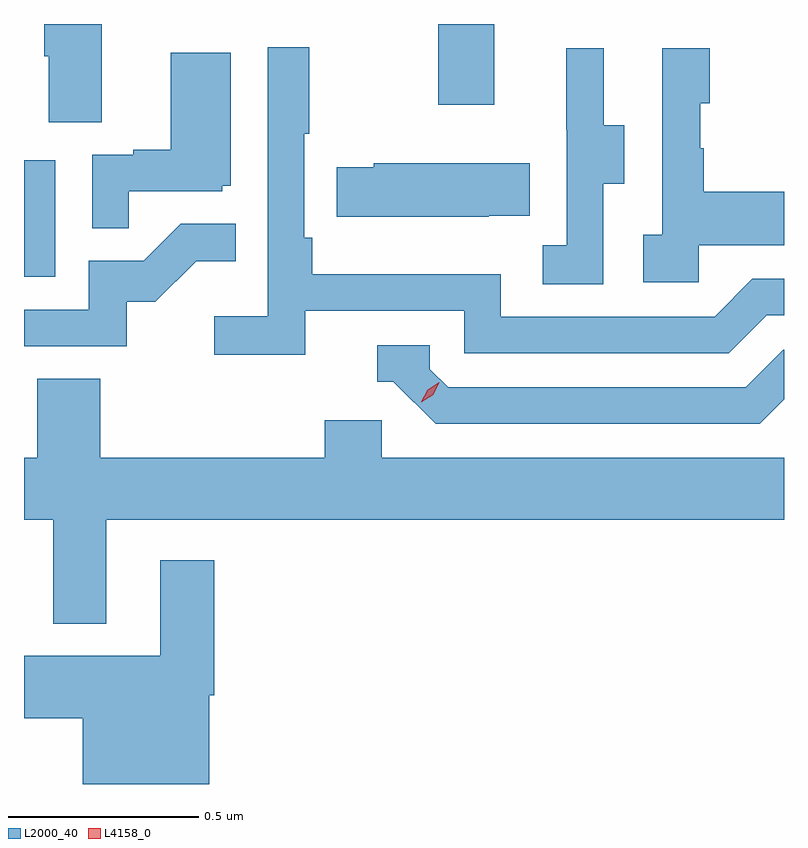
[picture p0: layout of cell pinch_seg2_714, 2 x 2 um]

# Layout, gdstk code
import gdstk
lib = gdstk.Library(unit=1e-6, precision=1e-09)
def R(c, l, rs):  # rectangles x0, y0, x1, y1
    for r in rs: c.add(gdstk.rectangle(r[:2], r[2:], *l))
def P(c, l, *ps):  # polygons
    for p in ps: c.add(gdstk.Polygon(p, *l))
L2000_40 = (2000, 40)
L4158_0 = (4158, 0)

pinch_seg2_714 = lib.new_cell('pinch_seg2_714')
R(pinch_seg2_714, L2000_40, [(1101.132,594.996,1101.214,595.303), (1102.222,595.449,1102.369,595.661)])
P(pinch_seg2_714, L2000_40, [(1101.337,595.661),(1101.185,595.661),(1101.185,595.576),(1101.197,595.576),(1101.197,595.402),(1101.337,595.402)],
  [(1101.872,594.906),(1102.29,594.906),(1102.29,594.795),(1102.987,594.795),(1103.086,594.894),(1103.132,594.894),(1103.132,594.99),(1103.049,594.99),(1102.95,594.891),(1102.386,594.891),(1102.386,595.003),(1101.89,595.003),(1101.89,595.099),(1101.87,595.099),(1101.87,595.372),(1101.883,595.372),(1101.883,595.6),(1101.774,595.6),(1101.774,594.892),(1101.633,594.892),(1101.633,594.79),(1101.872,594.79)],
  [(1102.656,595.24),(1102.711,595.24),(1102.711,595.395),(1102.657,595.395),(1102.657,595.597),(1102.559,595.597),(1102.559,595.383),(1102.56,595.383),(1102.56,595.079),(1102.497,595.079),(1102.497,594.976),(1102.656,594.976)],
  [(1102.908,595.079),(1103.132,595.079),(1103.132,595.219),(1102.921,595.219),(1102.921,595.334),(1102.911,595.334),(1102.911,595.452),(1102.936,595.452),(1102.936,595.597),(1102.812,595.597),(1102.812,595.106),(1102.761,595.106),(1102.761,594.981),(1102.908,594.981)],
  [(1101.407,595.221),(1101.654,595.221),(1101.654,595.236),(1101.676,595.236),(1101.676,595.585),(1101.518,595.585),(1101.518,595.33),(1101.419,595.33),(1101.419,595.317),(1101.312,595.317),(1101.312,595.123),(1101.407,595.123)],
  [(1102.355,595.157),(1102.463,595.157),(1102.463,595.294),(1102.053,595.294),(1102.053,595.284),(1101.955,595.284),(1101.955,595.154),(1102.355,595.154)],
  [(1101.402,594.93),(1101.478,594.93),(1101.585,595.037),(1101.689,595.037),(1101.689,595.136),(1101.545,595.136),(1101.447,595.038),(1101.303,595.038),(1101.303,594.909),(1101.132,594.909),(1101.132,594.813),(1101.402,594.813)],
  [(1103.132,594.673),(1103.132,594.804),(1103.13,594.804),(1103.031,594.705),(1102.248,594.705),(1102.2,594.753),(1102.2,594.816),(1102.061,594.816),(1102.061,594.72),(1102.104,594.72),(1102.215,594.609),(1103.068,594.609)],
  [(1101.332,594.728),(1101.167,594.728),(1101.167,594.52),(1101.132,594.52),(1101.132,594.356),(1101.209,594.356),(1101.209,594.083),(1101.349,594.083),(1101.349,594.356),(1103.132,594.356),(1103.132,594.52),(1102.074,594.52),(1102.074,594.618),(1101.923,594.618),(1101.923,594.52),(1101.332,594.52)],
  [(1101.619,593.894),(1101.632,593.894),(1101.632,594.25),(1101.491,594.25),(1101.491,593.998),(1101.132,593.998),(1101.132,593.834),(1101.287,593.834),(1101.287,593.661),(1101.619,593.661)])
P(pinch_seg2_714, L4158_0, [(1102.178,594.666),(1102.178,594.667),(1102.194,594.699),(1102.225,594.718),(1102.225,594.718),(1102.225,594.718),(1102.209,594.685),(1102.178,594.666)])

lib.write_gds('pinch_seg2_714.gds')
